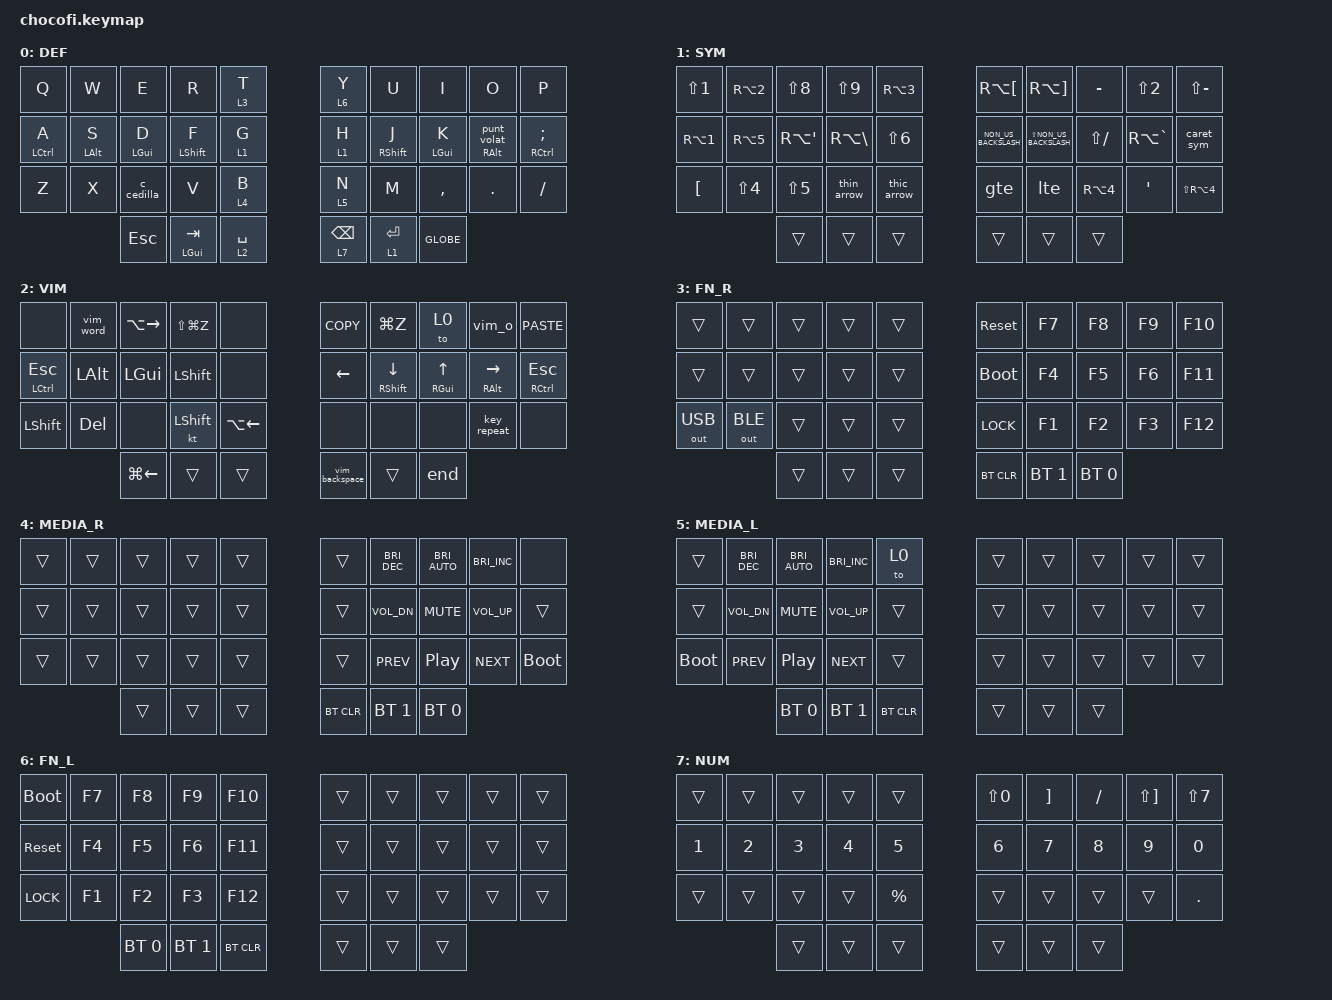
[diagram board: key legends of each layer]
/*
 * Copyright (c) 2020 The ZMK Contributors
 * SPDX-License-Identifier: MIT
 */

#include <behaviors.dtsi>
#include <dt-bindings/zmk/bt.h>
#include <dt-bindings/zmk/keys.h>
#include <dt-bindings/zmk/outputs.h>

&lt {
    quick-tap-ms = <200>;
    tapping-term-ms = <200>;
};

/ {
    behaviors {

        hm: homerow_mods {
            compatible = "zmk,behavior-hold-tap";
            label = "HOMEROW_MODS";
            #binding-cells = <2>;
            tapping-term-ms = <250>;
            flavor = "tap-preferred";
            bindings = <&kp>, <&kp>;
            quick-tap-ms = <200>;
        };

        shift_tap: shift_tap {
            compatible = "zmk,behavior-hold-tap";
            label = "SHIFT_TAP";
            #binding-cells = <2>;
            tapping-term-ms = <250>;
            flavor = "tap-preferred";
            bindings = <&kp>, <&kp>;
            quick-tap-ms = <200>;
        };

        // Alt+C = ç  (verify RA(C) produces ç in your Spanish-Catalan layout)
        c_cedilla: c_cedilla {
            compatible = "zmk,behavior-mod-morph";
            label = "C_CEDILLA";
            #binding-cells = <0>;
            bindings = <&kp C>, <&kp RA(C)>;
            mods = <(MOD_LALT|MOD_RALT)>;
        };

        // Alt+L = · (punt volat)  (verify RA(L) produces · in your Spanish-Catalan layout)
        punt_volat: punt_volat {
            compatible = "zmk,behavior-mod-morph";
            label = "PUNT_VOLAT";
            #binding-cells = <0>;
            bindings = <&kp L>, <&kp RA(L)>;
            mods = <(MOD_LALT|MOD_RALT)>;
        };

        // Hold-tap for L: hold = RIGHT_ALT (homerow mod), tap = punt_volat
        hm_l: hm_l {
            compatible = "zmk,behavior-hold-tap";
            label = "HM_L";
            #binding-cells = <2>;
            tapping-term-ms = <250>;
            flavor = "tap-preferred";
            bindings = <&kp>, <&punt_volat>;
            quick-tap-ms = <200>;
        };

        // VIM layer behaviors
        vim_o: vim_o {
            compatible = "zmk,behavior-mod-morph";
            label = "VIM_O";
            #binding-cells = <0>;
            bindings = <&next_line_enter>, <&previous_line_enter>;
            mods = <(MOD_LSFT|MOD_RSFT)>;
        };

        vim_backspace: vim_backspace {
            compatible = "zmk,behavior-mod-morph";
            label = "VIM_BACKSPACE";
            #binding-cells = <0>;
            bindings = <&kp LA(BACKSPACE)>, <&kp LA(DELETE)>;
            mods = <(MOD_LALT|MOD_RALT)>;
        };

        end: end {
            compatible = "zmk,behavior-mod-morph";
            label = "END";
            #binding-cells = <0>;
            bindings = <&kp LG(RIGHT)>, <&kp END>;
            mods = <(MOD_LSFT|MOD_RALT)>;
        };


    };

    macros {

        vim_word: vim_word {
            compatible = "zmk,behavior-macro";
            label = "VIM_WORD";
            #binding-cells = <0>;
            bindings = <&kp LA(RIGHT) &kp LA(RIGHT) &kp LA(LEFT)>;
        };

        previous_line_enter: previous_line_enter {
            compatible = "zmk,behavior-macro";
            label = "PREVIOUS_LINE_ENTER";
            #binding-cells = <0>;
            bindings = <&kp LG(LEFT) &kp LS(ENTER) &kp LEFT>;
        };

        next_line_enter: next_line_enter {
            compatible = "zmk,behavior-macro";
            label = "NEXT_LINE_ENTER";
            #binding-cells = <0>;
            bindings = <&kp LG(RIGHT) &kp ENTER>;
        };

        vim_I: vim_I {
            compatible = "zmk,behavior-macro";
            label = "VIM_I";
            #binding-cells = <0>;
            bindings = <&kp LG(LEFT_ARROW) &to 0>;
        };

        esc_0: esc_0 {
            compatible = "zmk,behavior-macro";
            label = "ESC_0";
            #binding-cells = <0>;
            bindings = <&to 0 &kp ESCAPE>;
        };

        thic_arrow: thic_arrow {
            compatible = "zmk,behavior-macro";
            label = "THIC_ARROW";
            #binding-cells = <0>;
            bindings = <&kp EQUAL &kp GT>;
        };

        thin_arrow: thin_arrow {
            compatible = "zmk,behavior-macro";
            label = "THIN_ARROW";
            #binding-cells = <0>;
            bindings = <&kp MINUS &kp GT>;
        };

        gte: gte {
            compatible = "zmk,behavior-macro";
            label = "GTE";
            #binding-cells = <0>;
            bindings = <&kp GT &kp EQUAL>;
        };

        lte: lte {
            compatible = "zmk,behavior-macro";
            label = "LTE";
            #binding-cells = <0>;
            bindings = <&kp LT &kp EQUAL>;
        };

        caret_sym: caret_sym {
            compatible = "zmk,behavior-macro";
            label = "CARET_SYM";
            #binding-cells = <0>;
            bindings = <&kp LS(LEFT_BRACKET) &kp SPACE>;
        };

    };

    combos {
        compatible = "zmk,combos";

        RESET {
            bindings = <&esc_0>;
            key-positions = <12 17>;
        };

        toggle_shift {
            bindings = <&caps_word>;
            key-positions = <16 13>;
        };

        RESET_w {
            bindings = <&esc_0>;
            key-positions = <14 15>;
        };
    };

    keymap {
        compatible = "zmk,keymap";

        default_layer {
            label = "DEF";
            // ╭──────────┬──────────┬──────────┬──────────┬──────────╮   ╭──────────┬──────────┬──────────┬──────────┬──────────╮
            // │  Q/`     │  W/€     │  E       │  R       │  T/FN_R  │   │  Y/FN_L  │  U       │  I       │  O       │  P       │
            // │  A/CTRL  │  S/ALT   │  D/GUI   │  F/SHFT  │  G/NUM   │   │  H/NUM   │  J/SHFT  │  K/GUI   │  L·/RALT │  ñ/RCTRL │
            // │  Z       │  X       │  Ç       │  V       │  B/MEDIA │   │  N/MEDL  │  M       │  ,       │  .       │  /       │
            // ╰──────────┴──────────┤  Esc     │  TAB/GUI │  SPC/VIM ├   ┤ BSP/NUM  │  ENT/SYM │  Globe   ├──────────┴──────────╯
            bindings = <
  &kp Q        &kp W           &kp E               &kp R                    &lt 3 T        &lt 6 Y          &kp U                     &kp I                &kp O              &kp P
  &hm LCTRL A  &hm LEFT_ALT S  &hm LEFT_GUI D      &shift_tap LEFT_SHIFT F  &lt 1 G        &lt 1 H          &shift_tap RIGHT_SHIFT J  &hm LEFT_GUI K       &hm_l RIGHT_ALT 0  &hm RCTRL SEMI
  &kp Z        &kp X           &c_cedilla          &kp V                    &lt 4 B        &lt 5 N          &kp M                     &kp COMMA            &kp DOT            &kp SLASH
                               &kp ESCAPE          &hm LEFT_GUI TAB         &lt 2 SPACE    &lt 7 BACKSPACE  &lt 1 ENTER               &kp GLOBE
            >;
        };

        SYM {
            label = "SYM";
            // ╭──────────┬──────────┬──────────┬──────────┬──────────╮   ╭──────────┬──────────┬──────────┬──────────┬──────────╮
            // │  !       │  @       │  (       │  )       │  #       │   │  [       │  ]       │  '       │  "       │  ?       │
            // │  |       │  €       │  {       │  }       │  &       │   │  <       │  >       │  _       │  \       │  ^       │
            // │  `·      │  $       │  %       │  ->      │  =>      │   │  >=      │  <=      │  ~       │  ´·      │  £       │
            // ╰──────────┴──────────┤  trans   │  trans   │  trans   ├   ┤  trans   │  trans   │  trans   ├──────────┴──────────╯
            bindings = <
  &kp LS(N1)  &kp RA(N2)  &kp LS(N8)         &kp LS(N9)         &kp RA(N3)   &kp RA(LEFT_BRACKET)   &kp RA(RIGHT_BRACKET)    &kp MINUS      &kp LS(N2)    &kp LS(MINUS)
  &kp RA(N1)  &kp RA(N5)  &kp RA(APOSTROPHE) &kp RA(BACKSLASH)  &kp LS(N6)   &kp NON_US_BACKSLASH   &kp LS(NON_US_BACKSLASH) &kp LS(SLASH)  &kp RA(GRAVE) &caret_sym
  &kp LEFT_BRACKET  &kp LS(N4)  &kp LS(N5)   &thin_arrow        &thic_arrow  &gte                   &lte                     &kp RA(N4)     &kp APOSTROPHE  &kp LS(RA(N4))
                           &trans             &trans             &trans       &trans                 &trans                   &trans
            >;
        };

        VIM {
            bindings = <
  &none                    &vim_word   &kp LA(RIGHT)  &kp LS(LG(Z))   &none           &kp K_COPY      &kp LG(Z)             &to 0                   &vim_o               &kp K_PASTE
  &hm LEFT_CONTROL ESCAPE  &kp LALT    &kp LEFT_GUI   &kp LEFT_SHIFT  &none           &kp LEFT        &hm RIGHT_SHIFT DOWN  &hm RIGHT_GUI UP_ARROW  &hm RIGHT_ALT RIGHT  &hm RCTRL ESCAPE
  &kp LEFT_SHIFT           &kp DELETE  &none          &kt LEFT_SHIFT  &kp LA(LEFT)    &none           &none                 &none                   &key_repeat          &none
                                       &kp LG(LEFT)   &trans          &trans          &vim_backspace  &trans                &end
            >;
        };

        FN_R {
            bindings = <
  &trans  &trans  &trans  &trans  &trans    &sys_reset   &kp F7        &kp F8        &kp F9  &kp F10
  &trans  &trans  &trans  &trans  &trans    &bootloader  &kp F4        &kp F5        &kp F6  &kp F11
  &out OUT_USB  &out OUT_BLE  &trans  &trans  &trans    &kp K_LOCK   &kp F1        &kp F2        &kp F3  &kp F12
                              &trans  &trans  &trans    &bt BT_CLR   &bt BT_SEL 1  &bt BT_SEL 0
            >;
        };

        MEDIA_R {
            bindings = <
  &trans  &trans  &trans  &trans  &trans    &trans      &kp C_BRIGHTNESS_DEC  &kp C_BRIGHTNESS_AUTO  &kp C_BRIGHTNESS_INC  &none
  &trans  &trans  &trans  &trans  &trans    &trans      &kp C_VOL_DN          &kp C_MUTE             &kp C_VOL_UP          &trans
  &trans  &trans  &trans  &trans  &trans    &trans      &kp C_PREV            &kp C_PLAY_PAUSE       &kp C_NEXT            &bootloader
                  &trans  &trans  &trans    &bt BT_CLR  &bt BT_SEL 1          &bt BT_SEL 0
            >;
        };

        MEDIA_L {
            bindings = <
  &trans       &kp C_BRIGHTNESS_DEC  &kp C_BRIGHTNESS_AUTO  &kp C_BRIGHTNESS_INC  &to 0         &trans  &trans  &trans  &trans  &trans
  &trans       &kp C_VOL_DN          &kp C_MUTE             &kp C_VOL_UP          &trans        &trans  &trans  &trans  &trans  &trans
  &bootloader  &kp C_PREV            &kp C_PLAY_PAUSE       &kp C_NEXT            &trans        &trans  &trans  &trans  &trans  &trans
                                     &bt BT_SEL 0           &bt BT_SEL 1          &bt BT_CLR    &trans  &trans  &trans
            >;
        };

        FN_L {
            bindings = <
  &bootloader  &kp F7  &kp F8        &kp F9        &kp F10       &trans  &trans  &trans  &trans  &trans
  &sys_reset   &kp F4  &kp F5        &kp F6        &kp F11       &trans  &trans  &trans  &trans  &trans
  &kp K_LOCK   &kp F1  &kp F2        &kp F3        &kp F12       &trans  &trans  &trans  &trans  &trans
                       &bt BT_SEL 0  &bt BT_SEL 1  &bt BT_CLR    &trans  &trans  &trans
            >;
        };

        NUM {
            // ╭─────┬─────┬─────┬─────┬─────╮   ╭─────┬─────┬─────┬─────┬─────╮
            // │     │     │     │     │     │   │  =  │  +  │  -  │  *  │  /  │  (Spanish keycodes)
            // │  1  │  2  │  3  │  4  │  5  │   │  6  │  7  │  8  │  9  │  0  │
            // │     │     │     │     │  %  │   │     │     │     │     │  .  │
            // ╰───────────┤     │     │     ├   ┤     │     │     ├───────────╯
            bindings = <
  &trans  &trans  &trans  &trans  &trans      &kp LS(N0)  &kp RIGHT_BRACKET  &kp SLASH  &kp LS(RIGHT_BRACKET)  &kp LS(N7)
  &kp N1  &kp N2  &kp N3  &kp N4  &kp N5      &kp N6     &kp N7    &kp N8     &kp N9        &kp N0
  &trans  &trans  &trans  &trans  &kp PRCNT   &trans     &trans    &trans     &trans        &kp DOT
                  &trans  &trans  &trans      &trans     &trans    &trans
            >;
        };

    };
};
